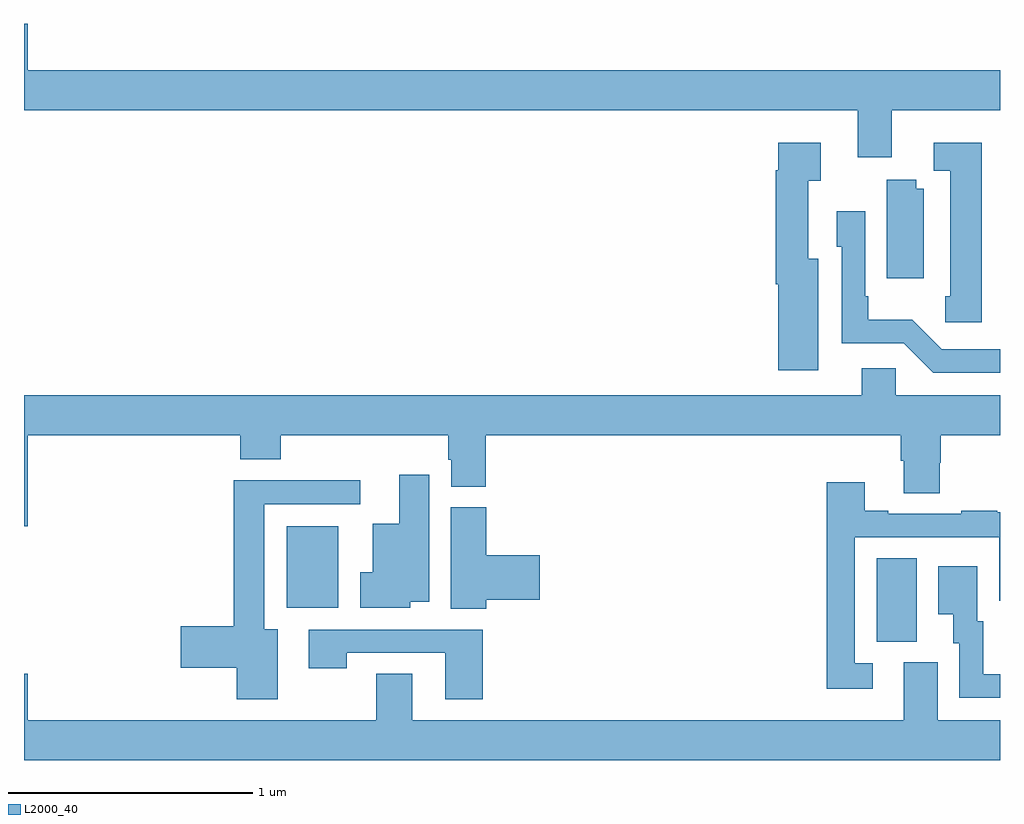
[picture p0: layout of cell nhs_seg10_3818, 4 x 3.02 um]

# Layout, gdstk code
import gdstk
lib = gdstk.Library(unit=1e-6, precision=1e-09)
def R(c, l, rs):  # rectangles x0, y0, x1, y1
    for r in rs: c.add(gdstk.rectangle(r[:2], r[2:], *l))
def P(c, l, *ps):  # polygons
    for p in ps: c.add(gdstk.Polygon(p, *l))
L2000_40 = (2000, 40)

nhs_seg10_3818 = lib.new_cell('nhs_seg10_3818')
R(nhs_seg10_3818, L2000_40, [(324.494,1259.509,324.658,1259.852), (322.076,1259.648,322.288,1259.983)])
P(nhs_seg10_3818, L2000_40, [(324.556,1261.688),(325,1261.688),(325,1261.852),(321.016,1261.852),(321.016,1262.041),(321,1262.041),(321,1261.688),(324.416,1261.688),(324.416,1261.494),(324.556,1261.494)],
  [(324.256,1261.078),(324.214,1261.078),(324.214,1261.399),(324.265,1261.399),(324.265,1261.555),(324.092,1261.555),(324.092,1261.442),(324.08,1261.442),(324.08,1260.974),(324.092,1260.974),(324.092,1260.621),(324.256,1260.621)],
  [(324.925,1261.555),(324.729,1261.555),(324.729,1261.44),(324.797,1261.44),(324.797,1260.924),(324.775,1260.924),(324.775,1260.819),(324.925,1260.819)],
  [(324.688,1261.366),(324.656,1261.366),(324.656,1261.403),(324.536,1261.403),(324.536,1260.999),(324.688,1260.999)],
  [(325,1260.708),(324.762,1260.708),(324.641,1260.829),(324.46,1260.829),(324.46,1260.925),(324.447,1260.925),(324.447,1261.273),(324.33,1261.273),(324.33,1261.128),(324.351,1261.128),(324.351,1260.732),(324.606,1260.732),(324.726,1260.612),(325,1260.612)],
  [(321,1259.982),(321.016,1259.982),(321.016,1260.356),(321.887,1260.356),(321.887,1260.257),(322.052,1260.257),(322.052,1260.356),(322.739,1260.356),(322.739,1260.255),(322.751,1260.255),(322.751,1260.145),(322.892,1260.145),(322.892,1260.356),(324.593,1260.356),(324.593,1260.25),(324.605,1260.25),(324.605,1260.118),(324.753,1260.118),(324.753,1260.243),(324.758,1260.243),(324.758,1260.356),(325,1260.356),(325,1260.52),(324.573,1260.52),(324.573,1260.63),(324.434,1260.63),(324.434,1260.52),(321,1260.52)],
  [(322.584,1259.672),(322.66,1259.672),(322.66,1260.193),(322.538,1260.193),(322.538,1259.992),(322.43,1259.992),(322.43,1259.794),(322.379,1259.794),(322.379,1259.648),(322.584,1259.648)],
  [(322.039,1259.56),(321.985,1259.56),(321.985,1260.072),(322.378,1260.072),(322.378,1260.17),(321.86,1260.17),(321.86,1259.573),(321.642,1259.573),(321.642,1259.402),(321.872,1259.402),(321.872,1259.274),(322.039,1259.274)],
  [(324.478,1259.421),(324.405,1259.421),(324.405,1259.937),(324.996,1259.937),(324.996,1259.676),(325,1259.676),(325,1260.039),(324.989,1260.039),(324.989,1260.046),(324.841,1260.046),(324.841,1260.033),(324.541,1260.033),(324.541,1260.046),(324.445,1260.046),(324.445,1260.163),(324.289,1260.163),(324.289,1259.316),(324.478,1259.316)],
  [(322.895,1259.681),(323.113,1259.681),(323.113,1259.864),(322.895,1259.864),(322.895,1260.06),(322.748,1260.06),(322.748,1259.644),(322.895,1259.644)],
  [(325,1259.376),(324.931,1259.376),(324.931,1259.592),(324.907,1259.592),(324.907,1259.818),(324.746,1259.818),(324.746,1259.621),(324.809,1259.621),(324.809,1259.502),(324.834,1259.502),(324.834,1259.28),(325,1259.28)],
  [(322.88,1259.559),(322.167,1259.559),(322.167,1259.4),(322.323,1259.4),(322.323,1259.463),(322.727,1259.463),(322.727,1259.274),(322.88,1259.274)],
  [(325,1259.188),(324.745,1259.188),(324.745,1259.424),(324.605,1259.424),(324.605,1259.188),(322.591,1259.188),(322.591,1259.378),(322.444,1259.378),(322.444,1259.188),(321.016,1259.188),(321.016,1259.377),(321,1259.377),(321,1259.024),(325,1259.024)])

lib.write_gds('nhs_seg10_3818.gds')
